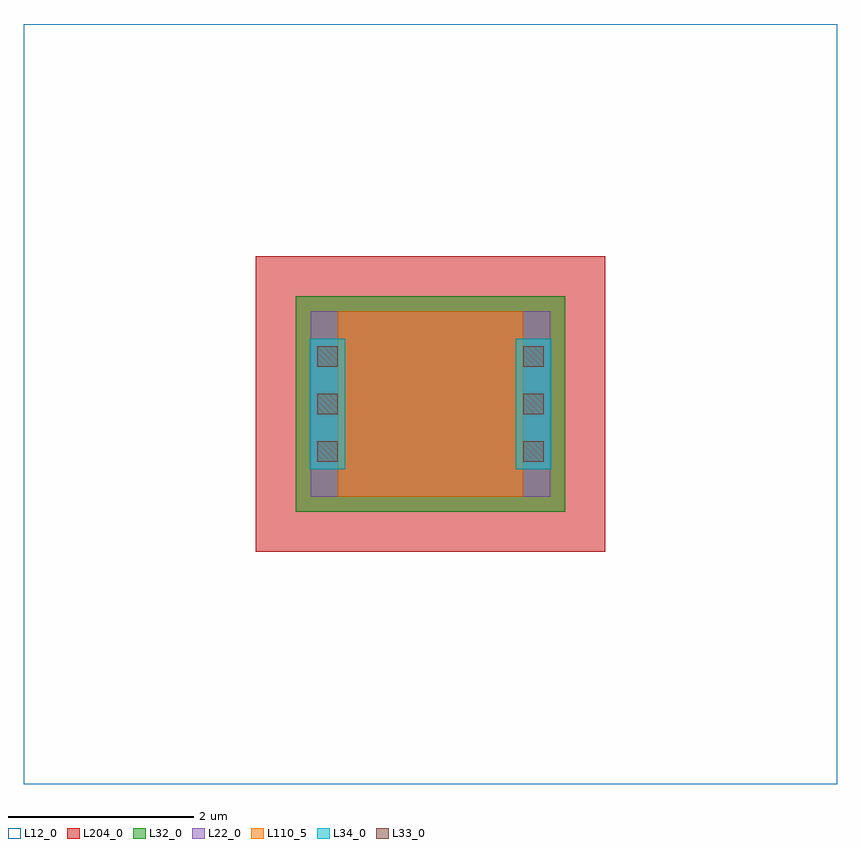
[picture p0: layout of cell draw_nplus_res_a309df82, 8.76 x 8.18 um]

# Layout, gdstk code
import gdstk
lib = gdstk.Library(unit=1e-6, precision=1e-09)
def R(c, l, rs):  # rectangles x0, y0, x1, y1
    for r in rs: c.add(gdstk.rectangle(r[:2], r[2:], *l))
def A(c, l, x, y, w, h, nx, ny, dx, dy):  # array of equal rectangles
    R(c, l, [(x+i*dx, y+j*dy, x+i*dx+w, y+j*dy+h) for i in range(nx) for j in range(ny)])
L12_0 = (12, 0)
L22_0 = (22, 0)
L32_0 = (32, 0)
L33_0 = (33, 0)
L34_0 = (34, 0)
L110_5 = (110, 5)
L204_0 = (204, 0)

draw_nplus_res_a309df82 = lib.new_cell('draw_nplus_res_a309df82')
R(draw_nplus_res_a309df82, L12_0, [(-3.38,-3.09,5.38,5.09)])
R(draw_nplus_res_a309df82, L22_0, [(-0.29,0,2.29,2)])
R(draw_nplus_res_a309df82, L32_0, [(-0.45,-0.16,2.45,2.16)])
A(draw_nplus_res_a309df82, L33_0, -0.22, 0.38, 0.22, 0.22, 1, 3, 0, 0.51)
A(draw_nplus_res_a309df82, L33_0, 2, 0.38, 0.22, 0.22, 1, 3, 0, 0.51)
R(draw_nplus_res_a309df82, L34_0, [(-0.3,0.3,0.08,1.7), (1.92,0.3,2.3,1.7)])
R(draw_nplus_res_a309df82, L110_5, [(0,0,2,2)])
R(draw_nplus_res_a309df82, L204_0, [(-0.88,-0.59,2.88,2.59)])

lib.write_gds('draw_nplus_res_a309df82.gds')
